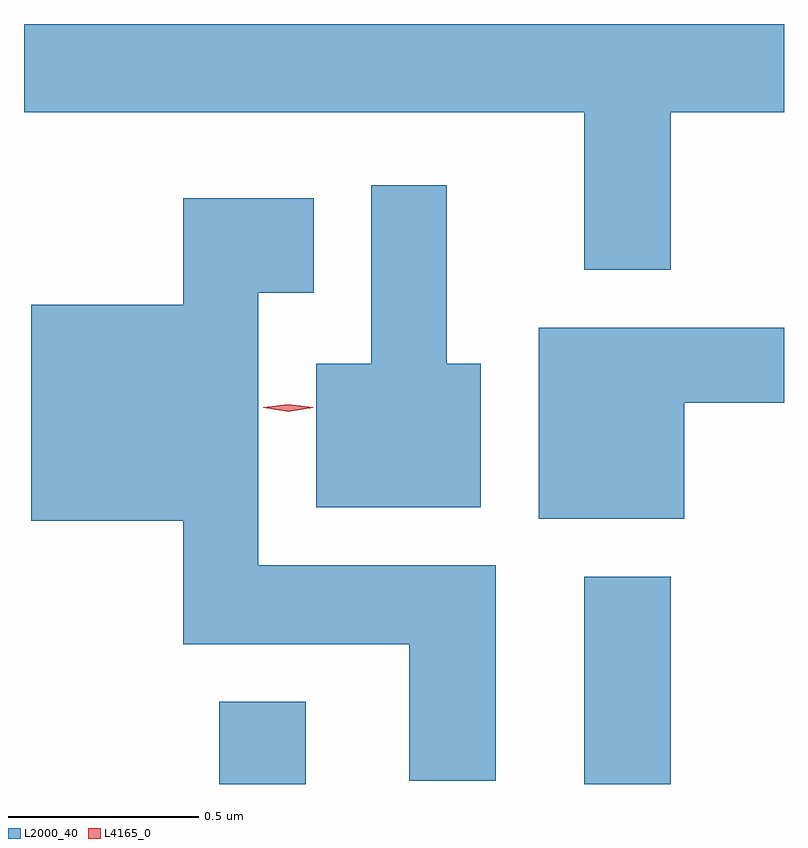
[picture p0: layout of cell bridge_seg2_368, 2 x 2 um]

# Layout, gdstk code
import gdstk
lib = gdstk.Library(unit=1e-6, precision=1e-09)
def R(c, l, rs):  # rectangles x0, y0, x1, y1
    for r in rs: c.add(gdstk.rectangle(r[:2], r[2:], *l))
def P(c, l, *ps):  # polygons
    for p in ps: c.add(gdstk.Polygon(p, *l))
L2000_40 = (2000, 40)
L4165_0 = (4165, 0)

bridge_seg2_368 = lib.new_cell('bridge_seg2_368')
R(bridge_seg2_368, L2000_40, [(340.821,1022.128,341.049,1022.344), (341.781,1022.128,342.009,1022.674)])
P(bridge_seg2_368, L2000_40, [(342.009,1023.896),(342.307,1023.896),(342.307,1024.128),(340.307,1024.128),(340.307,1023.896),(341.781,1023.896),(341.781,1023.481),(342.009,1023.481)],
  [(341.509,1023.234),(341.419,1023.234),(341.419,1023.704),(341.221,1023.704),(341.221,1023.234),(341.076,1023.234),(341.076,1022.856),(341.509,1022.856)],
  [(341.549,1022.704),(340.924,1022.704),(340.924,1023.421),(341.069,1023.421),(341.069,1023.669),(340.726,1023.669),(340.726,1023.389),(340.326,1023.389),(340.326,1022.821),(340.726,1022.821),(340.726,1022.496),(341.321,1022.496),(341.321,1022.136),(341.549,1022.136)],
  [(342.044,1023.131),(342.307,1023.131),(342.307,1023.329),(341.661,1023.329),(341.661,1022.826),(342.044,1022.826)])
P(bridge_seg2_368, L4165_0, [(341.002,1023.108),(340.936,1023.118),(340.936,1023.118),(340.936,1023.119),(341.002,1023.128),(341.068,1023.119),(341.068,1023.118),(341.068,1023.118)])

lib.write_gds('bridge_seg2_368.gds')
